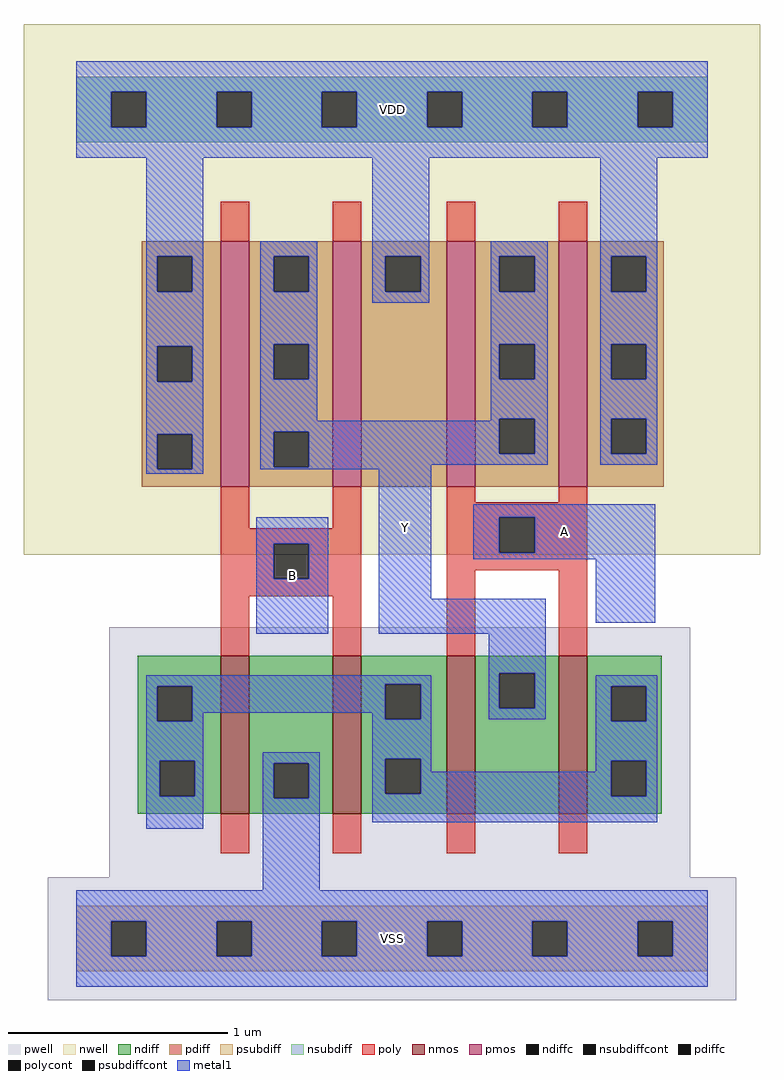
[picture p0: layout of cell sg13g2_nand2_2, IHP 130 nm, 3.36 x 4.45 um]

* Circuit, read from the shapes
.subckt sg13g2_nand2_2 Y VDD A VSS B
XM1 VSS B n1 VSS sg13_lv_nmos w=0.72u l=0.13u m=2
XM2 Y A n1 VSS sg13_lv_nmos w=0.72u l=0.13u m=2
XM3 Y B VDD VDD sg13_lv_pmos w=1.12u l=0.13u m=2
XM4 Y A VDD VDD sg13_lv_pmos w=1.12u l=0.13u m=2
.ends

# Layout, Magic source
magic
tech ihp-sg13g2
<< nwell >>
rect -24 175 312 417
<< pwell >>
rect 15 28 280 142
rect -13 -28 301 28
<< nmos >>
rect 66 57 79 129
rect 117 57 130 129
rect 169 57 182 129
rect 220 57 233 129
<< pmos >>
rect 66 206 79 318
rect 117 206 130 318
rect 169 206 182 318
rect 220 206 233 318
<< ndiff >>
rect 28 115 66 129
rect 28 99 37 115
rect 53 99 66 115
rect 28 81 66 99
rect 28 65 38 81
rect 54 65 66 81
rect 28 57 66 65
rect 79 80 117 129
rect 79 64 90 80
rect 106 64 117 80
rect 79 57 117 64
rect 130 116 169 129
rect 130 100 141 116
rect 157 100 169 116
rect 130 82 169 100
rect 130 66 141 82
rect 157 66 169 82
rect 130 57 169 66
rect 182 121 220 129
rect 182 105 193 121
rect 209 105 220 121
rect 182 57 220 105
rect 233 115 267 129
rect 233 99 244 115
rect 260 99 267 115
rect 233 81 267 99
rect 233 65 244 81
rect 260 65 267 81
rect 233 57 267 65
<< pdiff >>
rect 30 311 66 318
rect 30 295 37 311
rect 53 295 66 311
rect 30 270 66 295
rect 30 254 37 270
rect 53 254 66 270
rect 30 230 66 254
rect 30 214 37 230
rect 53 214 66 230
rect 30 206 66 214
rect 79 311 117 318
rect 79 295 90 311
rect 106 295 117 311
rect 79 271 117 295
rect 79 255 90 271
rect 106 255 117 271
rect 79 231 117 255
rect 79 215 90 231
rect 106 215 117 231
rect 79 206 117 215
rect 130 311 169 318
rect 130 295 141 311
rect 157 295 169 311
rect 130 206 169 295
rect 182 311 220 318
rect 182 295 193 311
rect 209 295 220 311
rect 182 271 220 295
rect 182 255 193 271
rect 209 255 220 271
rect 182 237 220 255
rect 182 221 193 237
rect 209 221 220 237
rect 182 206 220 221
rect 233 311 268 318
rect 233 295 244 311
rect 260 295 268 311
rect 233 271 268 295
rect 233 255 244 271
rect 260 255 268 271
rect 233 237 268 255
rect 233 221 244 237
rect 260 221 268 237
rect 233 206 268 221
<< ndiffc >>
rect 37 99 53 115
rect 38 65 54 81
rect 90 64 106 80
rect 141 100 157 116
rect 141 66 157 82
rect 193 105 209 121
rect 244 99 260 115
rect 244 65 260 81
<< pdiffc >>
rect 37 295 53 311
rect 37 254 53 270
rect 37 214 53 230
rect 90 295 106 311
rect 90 255 106 271
rect 90 215 106 231
rect 141 295 157 311
rect 193 295 209 311
rect 193 255 209 271
rect 193 221 209 237
rect 244 295 260 311
rect 244 255 260 271
rect 244 221 260 237
<< psubdiff >>
rect 0 8 288 15
rect 0 -8 16 8
rect 32 -8 64 8
rect 80 -8 112 8
rect 128 -8 160 8
rect 176 -8 208 8
rect 224 -8 256 8
rect 272 -8 288 8
rect 0 -15 288 -8
<< nsubdiff >>
rect 0 386 288 393
rect 0 370 16 386
rect 32 370 64 386
rect 80 370 112 386
rect 128 370 160 386
rect 176 370 208 386
rect 224 370 256 386
rect 272 370 288 386
rect 0 363 288 370
<< psubdiffcont >>
rect 16 -8 32 8
rect 64 -8 80 8
rect 112 -8 128 8
rect 160 -8 176 8
rect 208 -8 224 8
rect 256 -8 272 8
<< nsubdiffcont >>
rect 16 370 32 386
rect 64 370 80 386
rect 112 370 128 386
rect 160 370 176 386
rect 208 370 224 386
rect 256 370 272 386
<< poly >>
rect 66 318 79 336
rect 117 318 130 336
rect 169 318 182 336
rect 220 318 233 336
rect 66 187 79 206
rect 117 187 130 206
rect 66 180 130 187
rect 66 164 90 180
rect 106 164 130 180
rect 66 156 130 164
rect 66 129 79 156
rect 117 129 130 156
rect 169 199 182 206
rect 220 199 233 206
rect 169 192 233 199
rect 169 176 193 192
rect 209 176 233 192
rect 169 168 233 176
rect 169 129 182 168
rect 220 129 233 168
rect 66 39 79 57
rect 117 39 130 57
rect 169 39 182 57
rect 220 39 233 57
<< polycont >>
rect 90 164 106 180
rect 193 176 209 192
<< metal1 >>
rect 0 386 288 400
rect 0 370 16 386
rect 32 370 64 386
rect 80 370 112 386
rect 128 370 160 386
rect 176 370 208 386
rect 224 370 256 386
rect 272 370 288 386
rect 0 356 288 370
rect 32 311 58 356
rect 32 295 37 311
rect 53 295 58 311
rect 32 270 58 295
rect 32 254 37 270
rect 53 254 58 270
rect 32 230 58 254
rect 32 214 37 230
rect 53 214 58 230
rect 84 311 110 318
rect 84 295 90 311
rect 106 295 110 311
rect 84 271 110 295
rect 135 311 161 356
rect 135 295 141 311
rect 157 295 161 311
rect 135 290 161 295
rect 189 311 215 318
rect 189 295 193 311
rect 209 295 215 311
rect 84 255 90 271
rect 106 255 110 271
rect 84 236 110 255
rect 189 271 215 295
rect 189 255 193 271
rect 209 255 215 271
rect 189 237 215 255
rect 189 236 193 237
rect 84 231 193 236
rect 84 215 90 231
rect 106 221 193 231
rect 209 221 215 237
rect 106 216 215 221
rect 239 311 265 356
rect 239 295 244 311
rect 260 295 265 311
rect 239 271 265 295
rect 239 255 244 271
rect 260 255 265 271
rect 239 237 265 255
rect 239 221 244 237
rect 260 221 265 237
rect 239 216 265 221
rect 106 215 162 216
rect 84 214 162 215
rect 32 212 58 214
rect 82 180 115 192
rect 82 164 90 180
rect 106 164 115 180
rect 82 139 115 164
rect 138 155 162 214
rect 181 192 264 198
rect 181 176 193 192
rect 209 176 264 192
rect 181 173 264 176
rect 138 139 214 155
rect 237 144 264 173
rect 188 121 214 139
rect 32 116 162 120
rect 32 115 141 116
rect 32 99 37 115
rect 53 103 141 115
rect 53 99 58 103
rect 32 81 58 99
rect 135 100 141 103
rect 157 100 162 116
rect 188 105 193 121
rect 209 105 214 121
rect 188 100 214 105
rect 237 115 265 120
rect 32 65 38 81
rect 54 65 58 81
rect 32 50 58 65
rect 85 80 111 85
rect 85 64 90 80
rect 106 64 111 80
rect 85 22 111 64
rect 135 82 162 100
rect 135 66 141 82
rect 157 76 162 82
rect 237 99 244 115
rect 260 99 265 115
rect 237 81 265 99
rect 237 76 244 81
rect 157 66 244 76
rect 135 65 244 66
rect 260 65 265 81
rect 135 53 265 65
rect 0 8 288 22
rect 0 -8 16 8
rect 32 -8 64 8
rect 80 -8 112 8
rect 128 -8 160 8
rect 176 -8 208 8
rect 224 -8 256 8
rect 272 -8 288 8
rect 0 -22 288 -8
<< labels >>
flabel metal1 s 138 139 162 236 0 FreeSans 200 0 0 0 Y
port 2 nsew
flabel metal1 s 0 356 288 400 0 FreeSans 200 0 0 0 VDD
port 3 nsew
flabel metal1 s 181 173 264 198 0 FreeSans 200 0 0 0 A
port 4 nsew
flabel metal1 s 0 -22 288 22 0 FreeSans 200 0 0 0 VSS
port 5 nsew
flabel metal1 s 82 139 115 192 0 FreeSans 200 0 0 0 B
port 6 nsew
<< properties >>
string FIXED_BBOX 0 0 288 378
string GDS_END 183608
string GDS_FILE ../gds/controller.gds
string GDS_START 178738
<< end >>
